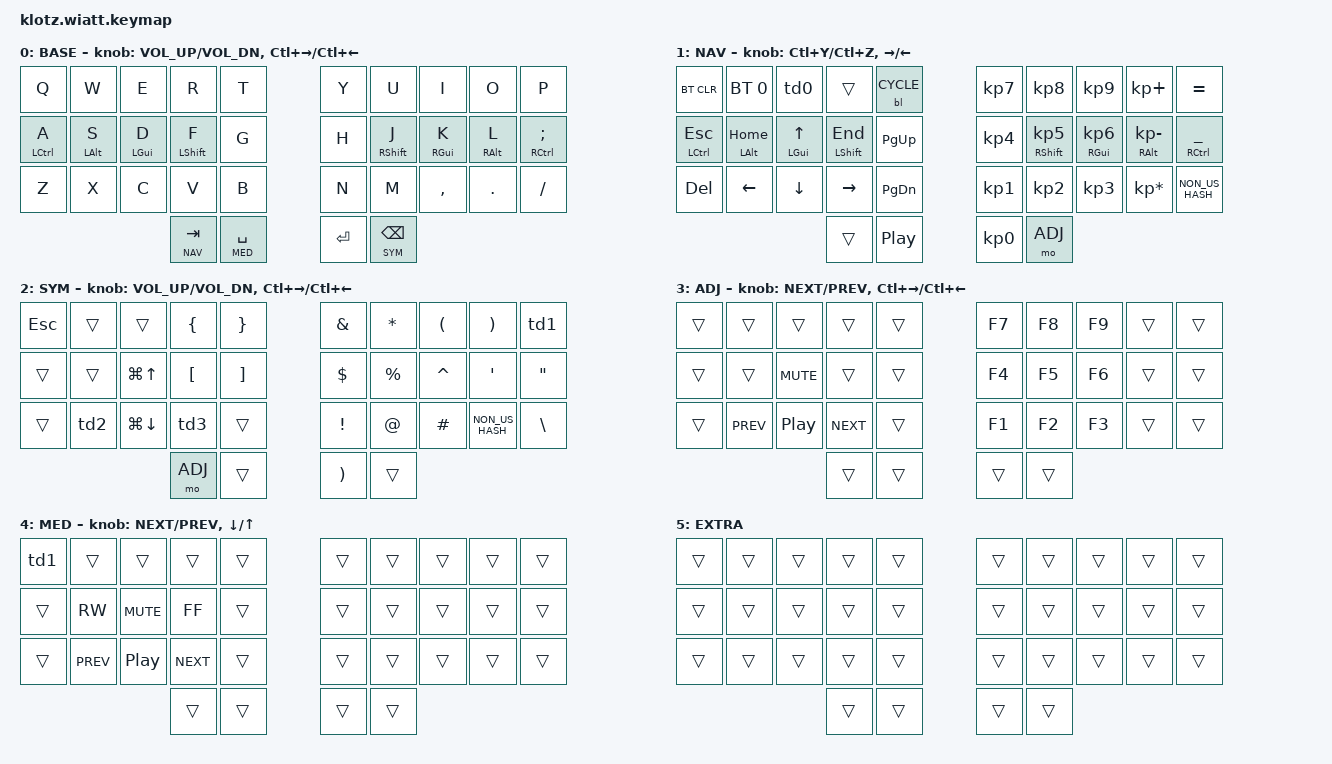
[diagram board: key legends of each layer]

//                                      █         ██        ▄▀▀▀▀▀▀▀▀▀▀█▀▀▀▀▀▀▀▀█▀▀▀▀▀▀▀▀▀▀█
//                                      █        █ █      ▄▀            ▀▄      █         █
//                                      █       █  █    ▄▀                ▀▄    █        █
//                                      █      █   █   █                    █   █       █
//                                      █     █    █   █                    █   █      █
//                                      █    █     █   █                    █   █  ▀▀▀█▀▀▀▀
//                                      █   █ █    █   █                    █   █    █
//                                      █  █   █   █   █                    █   █   █
//                                      █ █     █  █    ▀▄                ▄▀    █  █
//                                      ██       █ █      ▀▄            ▄▀      █ █
//                                      █         ██▄▄▄▄▄▄▄▄█▄▄▄▄▄▄▄▄▄▄▀        ██▄▄▄▄▄▄▄▄▄▄
//
// ▄▄▄▄▄▄▄▄▄▄▄▄▄▄▄▄▄▄▄▄▄▄▄▄▄▄▄▄▄▄▄▄▄▄▄▄▄▄▄▄▄▄▄▄▄▄▄▄▄▄▄▄▄▄▄▄▄▄▄▄▄▄▄▄▄▄▄▄▄▄▄▄▄▄▄▄▄▄▄▄▄▄▄▄▄▄▄▄▄▄▄▄▄▄▄▄▄▄▄▄▄▄▄▄▄▄▄▄▄▄▄▄▄▄▄▄▄▄▄▄▄▄▄▄▄
       

#include <behaviors.dtsi>
#include <dt-bindings/zmk/keys.h>
#include <dt-bindings/zmk/bt.h>
#include <dt-bindings/zmk/outputs.h>
#include <dt-bindings/zmk/backlight.h>

#define BASE 0
#define NAV  1
#define SYM  2
#define ADJ  3
#define MED  4
#define XTRA 5

&mt {
  quick-tap-ms = <100>;
  global-quick-tap;
  flavor = "tap-preferred";
  tapping-term-ms = <170>;
};

/ {
    behaviors {
        td0: tap_dance_0 {
            compatible = "zmk,behavior-tap-dance";
            label = "TAP_DANCE_0";
            #binding-cells = <0>;
            tapping-term-ms = <300>;
            bindings = <&bt BT_SEL 0>, <&bt BT_SEL 1>, <&bt BT_SEL 2>, <&bt BT_SEL 3>, <&bt BT_SEL 4>;
        };
        td1: tap_dance_1 {
            compatible = "zmk,behavior-tap-dance";
            label = "TAP_DANCE_1";
            #binding-cells = <0>;
            tapping-term-ms = <300>;
            bindings = <&sys_reset>, <&bootloader>;
        };
        td2: tap_dance_2 {
            compatible = "zmk,behavior-tap-dance";
            label = "TAP_DANCE_2";
            #binding-cells = <0>;
            tapping-term-ms = <300>;
            bindings = <&kp LG(LEFT)>, <&kp LS(LG(LEFT))>;
        };
        td3: tap_dance_3 {
            compatible = "zmk,behavior-tap-dance";
            label = "TAP_DANCE_3";
            #binding-cells = <0>;
            tapping-term-ms = <300>;
            bindings = <&kp LG(RIGHT)>, <&kp LS(LG(RIGHT))>;
        };
    };
    keymap {
                compatible = "zmk,keymap";
// ▄▄▄▄▄▄▄▄▄▄▄▄▄▄▄▄▄▄▄▄▄▄▄▄▄▄▄▄▄▄▄▄▄▄▄▄▄▄▄▄▄▄▄▄▄▄▄▄▄▄▄▄▄▄▄▄▄▄▄▄▄▄▄▄▄▄▄▄▄▄▄▄▄▄▄▄▄▄▄▄▄▄▄▄▄▄▄▄▄▄▄▄▄▄▄▄▄▄▄▄▄▄▄▄▄▄▄▄▄▄▄▄▄▄▄▄▄▄▄▄▄▄▄▄▄


                base_layer {
// ┏━━━━━━━━━━━━━━━━━━━━━━━━━━━━━━━━━━━━━━━┓
label= "BASE"                              ;
// ┗━━━━━━━━━━━━━━━━━━━━━━━━━━━━━━━━━━━━━━━┛
// ┏━━━━━━━┳━━━━━━┳━━━━━━━┳━━━━━━┳━━━━━━━━━━━┓   ┏━━━━━━━━━━━┳━━━━━━━━━━━┳━━━━━━━━━━━┳━━━━━━━━━━━┳━━━━━━━━━━━┓
// ┃     Q     ┃     W     ┃     E     ┃     R     ┃     T     ┃   ┃     Y     ┃     U     ┃     I     ┃     O     ┃     P     ┃
// ┣━━━━━━━╋━━━━━━╋━━━━━━━╋━━━━━━╋━━━━━━━━━━━┫   ┣━━━━━━━━━━━╋━━━━━━━━━━━╋━━━━━━━━━━━╋━━━━━━━━━━━╋━━━━━━━━━━━┫
// ┃     A     ┃     S     ┃     D     ┃     F     ┃     G     ┃   ┃     H     ┃     J     ┃     K     ┃     L     ┃     ;     ┃
// ┣━━━━━━━╋━━━━━━╋━━━━━━━╋━━━━━━╋━━━━━━━━━━━┫   ┣━━━━━━━━━━━╋━━━━━━━━━━━╋━━━━━━━━━━━╋━━━━━━━━━━━╋━━━━━━━━━━━┫
// ┃     Z     ┃     X     ┃     C     ┃     V     ┃     B     ┃   ┃     N     ┃     M     ┃     ,     ┃     .     ┃     /     ┃
// ┗━━━━━━━━━━━┻━━━━━━━━━━━┻━━━━━━━━━━━╋━━━━━━━━━━━╋━━━━━━━━━━━┫   ┣━━━━━━━━━━━╋━━━━━━━━━━━╋━━━━━━━━━━━┻━━━━━━━━━━━┻━━━━━━━━━━━┛
//                                     ┃    TAB    ┃    SPC    ┃   ┃   ENTER   ┃   BSPC    ┃
//                                     ┗━━━━━━━━━━━┻━━━━━━━━━━━┛   ┗━━━━━━━━━━━┻━━━━━━━━━━━┛
 bindings = <
// ╷           ╷           ╷           ╷           ╷           ╷   ╷           ╷           ╷           ╷           ╷           ╷

    &kp Q       &kp W       &kp E       &kp R       &kp T           &kp Y       &kp U       &kp I       &kp O       &kp P
    &mt LCTRL A &mt LALT S  &mt LGUI D  &mt LSHFT F &kp G           &kp H       &mt RSHFT J &mt RGUI K  &mt RALT L  &mt RCTRL SEMI
    &kp Z       &kp X       &kp C       &kp V       &kp B           &kp N       &kp M       &kp COMMA   &kp DOT     &kp FSLH
                                        &lt NAV TAB &lt MED SPACE   &kp RET     &lt SYM BSPC    
                        >;
            sensor-bindings = <&inc_dec_kp C_VOL_UP C_VOL_DN &inc_dec_kp LC(RIGHT) LC(LEFT)>;
                };

// ▄▄▄▄▄▄▄▄▄▄▄▄▄▄▄▄▄▄▄▄▄▄▄▄▄▄▄▄▄▄▄▄▄▄▄▄▄▄▄▄▄▄▄▄▄▄▄▄▄▄▄▄▄▄▄▄▄▄▄▄▄▄▄▄▄▄▄▄▄▄▄▄▄▄▄▄▄▄▄▄▄▄▄▄▄▄▄▄▄▄▄▄▄▄▄▄▄▄▄▄▄▄▄▄▄▄▄▄▄▄▄▄▄▄▄▄▄▄▄▄▄▄▄▄▄


                nav_layer {
// ┏━━━━━━━━━━━━━━━━━━━━━━━━━━━━━━━━━━━━━━━┓
label= "NAV"                              ;
// ┗━━━━━━━━━━━━━━━━━━━━━━━━━━━━━━━━━━━━━━━┛
// ┏━━━━━━━━━━━┳━━━━━━━━━━━┳━━━━━━━━━━━┳━━━━━━━━━━━┳━━━━━━━━━━━┓   ┏━━━━━━━━━━━┳━━━━━━━━━━━┳━━━━━━━━━━━┳━━━━━━━━━━━┳━━━━━━━━━━━┓
// ┃   BT CLR  ┃  BT 1     ┃   BT TAP  ┃           ┃ LED CYCLE ┃   ┃     7     ┃     8     ┃     9     ┃     +     ┃     =     ┃
// ┣━━━━━━━━━━━╋━━━━━━━━━━━╋━━━━━━━━━━━╋━━━━━━━━━━━╋━━━━━━━━━━━┫   ┣━━━━━━━━━━━╋━━━━━━━━━━━╋━━━━━━━━━━━╋━━━━━━━━━━━╋━━━━━━━━━━━┫
// ┃    ESC    ┃   HOME    ┃    UP     ┃    END    ┃   PG UP   ┃   ┃     4     ┃     5     ┃     6     ┃     -     ┃     _     ┃
// ┣━━━━━━━━━━━╋━━━━━━━━━━━╋━━━━━━━━━━━╋━━━━━━━━━━━╋━━━━━━━━━━━┫   ┣━━━━━━━━━━━╋━━━━━━━━━━━╋━━━━━━━━━━━╋━━━━━━━━━━━╋━━━━━━━━━━━┫
// ┃    DEL    ┃   LEFT    ┃   DOWN    ┃   RIGHT   ┃  PG DOWN  ┃   ┃     1     ┃     2     ┃     3     ┃     *     ┃     #     ┃
// ┗━━━━━━━━━━━┻━━━━━━━━━━━┻━━━━━━━━━━━╋━━━━━━━━━━━╋━━━━━━━━━━━┫   ┣━━━━━━━━━━━╋━━━━━━━━━━━╋━━━━━━━━━━━┻━━━━━━━━━━━┻━━━━━━━━━━━┛
//                                     ┃           ┃PLAY/PAUSE ┃   ┃    0      ┃     ADJ   ┃  
//                                     ┗━━━━━━━━━━━┻━━━━━━━━━━━┛   ┗━━━━━━━━━━━┻━━━━━━━━━━━┛
 bindings = <
// ╷            ╷            ╷           ╷            ╷           ╷    ╷           ╷           ╷           ╷               ╷              ╷

    &bt BT_CLR     &bt BT_SEL 0  &td0        &trans        &bl BL_CYCLE     &kp KP_N7   &kp KP_N8       &kp KP_N9      &kp KP_PLUS       &kp EQUAL
    &mt LCTRL ESC  &mt LALT HOME &mt LGUI UP &mt LSHFT END &kp PG_UP        &kp KP_N4   &mt RSHFT KP_N5 &mt RGUI KP_N6 &mt RALT KP_MINUS &mt RCTRL UNDER
    &kp DEL        &kp LEFT      &kp DOWN    &kp RIGHT     &kp PG_DN        &kp KP_N1   &kp KP_N2       &kp KP_N3      &kp KP_MULTIPLY   &kp NON_US_HASH
                                             &trans        &kp C_PP         &kp KP_N0   &mo ADJ     
                        >;
            sensor-bindings = <&inc_dec_kp LC(Y) LC(Z) &inc_dec_kp RIGHT LEFT>;
                };

// ▄▄▄▄▄▄▄▄▄▄▄▄▄▄▄▄▄▄▄▄▄▄▄▄▄▄▄▄▄▄▄▄▄▄▄▄▄▄▄▄▄▄▄▄▄▄▄▄▄▄▄▄▄▄▄▄▄▄▄▄▄▄▄▄▄▄▄▄▄▄▄▄▄▄▄▄▄▄▄▄▄▄▄▄▄▄▄▄▄▄▄▄▄▄▄▄▄▄▄▄▄▄▄▄▄▄▄▄▄▄▄▄▄▄▄▄▄▄▄▄▄▄▄▄▄


                sym_layer {
// ┏━━━━━━━━━━━━━━━━━━━━━━━━━━━━━━━━━━━━━━━┓
label= "SYM"                               ;
// ┗━━━━━━━━━━━━━━━━━━━━━━━━━━━━━━━━━━━━━━━┛
// ┏━━━━━━━━━━━┳━━━━━━━━━━━┳━━━━━━━━━━━┳━━━━━━━━━━━┳━━━━━━━━━━━┓   ┏━━━━━━━━━━━┳━━━━━━━━━━━┳━━━━━━━━━━━┳━━━━━━━━━━━┳━━━━━━━━━━━┓
// ┃    ESC    ┃           ┃           ┃     {     ┃     }     ┃   ┃     &     ┃     *     ┃     (     ┃     )     ┃ RESET TAP ┃
// ┣━━━━━━━━━━━╋━━━━━━━━━━━╋━━━━━━━━━━━╋━━━━━━━━━━━╋━━━━━━━━━━━┫   ┣━━━━━━━━━━━╋━━━━━━━━━━━╋━━━━━━━━━━━╋━━━━━━━━━━━╋━━━━━━━━━━━┫
// ┃           ┃           ┃ SCREEN UP ┃     [     ┃     ]     ┃   ┃     $     ┃     %     ┃      ^    ┃     '     ┃     "     ┃
// ┣━━━━━━━━━━━╋━━━━━━━━━━━╋━━━━━━━━━━━╋━━━━━━━━━━━╋━━━━━━━━━━━┫   ┣━━━━━━━━━━━╋━━━━━━━━━━━╋━━━━━━━━━━━╋━━━━━━━━━━━╋━━━━━━━━━━━┫
// ┃           ┃ LEFT TAP  ┃ SCREEN DN ┃ RIGHT TAP ┃           ┃   ┃     !     ┃     @     ┃      £    ┃     #     ┃     \     ┃
// ┗━━━━━━━━━━━┻━━━━━━━━━━━┻━━━━━━━━━━━╋━━━━━━━━━━━╋━━━━━━━━━━━┫   ┣━━━━━━━━━━━╋━━━━━━━━━━━╋━━━━━━━━━━━┻━━━━━━━━━━━┻━━━━━━━━━━━┛
//                                     ┃   ADJUST  ┃           ┃   ┃     )     ┃           ┃   
//                                     ┗━━━━━━━━━━━┻━━━━━━━━━━━┛   ┗━━━━━━━━━━━┻━━━━━━━━━━━┛
 bindings = <
// ╷           ╷           ╷           ╷           ╷           ╷   ╷           ╷           ╷           ╷           ╷           ╷

   &kp ESC     &trans      &trans       &kp LBRC    &kp RBRC        &kp AMPS    &kp STAR    &kp LPAR    &kp RPAR        &td1      
   &trans      &trans      &kp LG(UP)   &kp LBKT    &kp RBKT        &kp DLLR    &kp PRCNT   &kp CARET   &kp SQT         &kp DQT 
   &trans      &td2        &kp LG(DOWN) &td3        &trans          &kp EXCL    &kp AT      &kp HASH    &kp NON_US_HASH &kp BSLH      
                                        &mo ADJ     &trans          &kp RPAR    &trans
                        >;
                sensor-bindings = <&inc_dec_kp C_VOL_UP C_VOL_DN &inc_dec_kp LC(RIGHT) LC(LEFT)>;
                };

// ▄▄▄▄▄▄▄▄▄▄▄▄▄▄▄▄▄▄▄▄▄▄▄▄▄▄▄▄▄▄▄▄▄▄▄▄▄▄▄▄▄▄▄▄▄▄▄▄▄▄▄▄▄▄▄▄▄▄▄▄▄▄▄▄▄▄▄▄▄▄▄▄▄▄▄▄▄▄▄▄▄▄▄▄▄▄▄▄▄▄▄▄▄▄▄▄▄▄▄▄▄▄▄▄▄▄▄▄▄▄▄▄▄▄▄▄▄▄▄▄▄▄▄▄▄


                adjust_layer {
// ┏━━━━━━━━━━━━━━━━━━━━━━━━━━━━━━━━━━━━━━━┓
label= "ADJ"                               ;
// ┗━━━━━━━━━━━━━━━━━━━━━━━━━━━━━━━━━━━━━━━┛
// ┏━━━━━━━━━━━┳━━━━━━━━━━━┳━━━━━━━━━━━┳━━━━━━━━━━━┳━━━━━━━━━━━┓   ┏━━━━━━━━━━━┳━━━━━━━━━━━┳━━━━━━━━━━━┳━━━━━━━━━━━┳━━━━━━━━━━━┓
// ┃           ┃           ┃           ┃           ┃           ┃   ┃    F7     ┃    F8     ┃    F9     ┃           ┃           ┃
// ┣━━━━━━━━━━━╋━━━━━━━━━━━╋━━━━━━━━━━━╋━━━━━━━━━━━╋━━━━━━━━━━━┫   ┣━━━━━━━━━━━╋━━━━━━━━━━━╋━━━━━━━━━━━╋━━━━━━━━━━━╋━━━━━━━━━━━┫
// ┃           ┃           ┃   MUTE    ┃           ┃           ┃   ┃    F4     ┃    F5     ┃    F6     ┃           ┃           ┃
// ┣━━━━━━━━━━━╋━━━━━━━━━━━╋━━━━━━━━━━━╋━━━━━━━━━━━╋━━━━━━━━━━━┫   ┣━━━━━━━━━━━╋━━━━━━━━━━━╋━━━━━━━━━━━╋━━━━━━━━━━━╋━━━━━━━━━━━┫
// ┃           ┃  PREVIOUS ┃ PLAYPAUSE ┃   NEXT    ┃           ┃   ┃    F1     ┃    F2     ┃    F3     ┃           ┃           ┃
// ┗━━━━━━━━━━━┻━━━━━━━━━━━┻━━━━━━━━━━━╋━━━━━━━━━━━╋━━━━━━━━━━━┫   ┣━━━━━━━━━━━╋━━━━━━━━━━━╋━━━━━━━━━━━┻━━━━━━━━━━━┻━━━━━━━━━━━┛
//                                     ┃           ┃           ┃   ┃           ┃           ┃
//                                     ┗━━━━━━━━━━━┻━━━━━━━━━━━┛   ┗━━━━━━━━━━━┻━━━━━━━━━━━┛
 bindings = <
// ╷            ╷          ╷          ╷          ╷           ╷   ╷           ╷           ╷           ╷           ╷           ╷

    &trans      &trans     &trans     &trans      &trans          &kp F7      &kp F8      &kp F9      &trans      &trans
    &trans      &trans     &kp C_MUTE &trans      &trans          &kp F4      &kp F5      &kp F6      &trans      &trans
    &trans      &kp C_PREV &kp C_PP   &kp C_NEXT  &trans          &kp F1      &kp F2      &kp F3      &trans      &trans     
                                      &trans      &trans          &trans      &trans
                        >;
            sensor-bindings = <&inc_dec_kp C_NEXT C_PREV &inc_dec_kp LC(RIGHT) LC(LEFT)>;
                };

// ▄▄▄▄▄▄▄▄▄▄▄▄▄▄▄▄▄▄▄▄▄▄▄▄▄▄▄▄▄▄▄▄▄▄▄▄▄▄▄▄▄▄▄▄▄▄▄▄▄▄▄▄▄▄▄▄▄▄▄▄▄▄▄▄▄▄▄▄▄▄▄▄▄▄▄▄▄▄▄▄▄▄▄▄▄▄▄▄▄▄▄▄▄▄▄▄▄▄▄▄▄▄▄▄▄▄▄▄▄▄▄▄▄▄▄▄▄▄▄▄▄▄▄▄▄



                media_layer {
// ┏━━━━━━━━━━━━━━━━━━━━━━━━━━━━━━━━━━━━━━━┓
label= "MED"                               ;
// ┗━━━━━━━━━━━━━━━━━━━━━━━━━━━━━━━━━━━━━━━┛
// ┏━━━━━━━━━━━┳━━━━━━━━━━━┳━━━━━━━━━━━┳━━━━━━━━━━━┳━━━━━━━━━━━┓   ┏━━━━━━━━━━━┳━━━━━━━━━━━┳━━━━━━━━━━━┳━━━━━━━━━━━┳━━━━━━━━━━━┓
// ┃ RESET TAP ┃           ┃           ┃           ┃           ┃   ┃           ┃           ┃           ┃           ┃           ┃
// ┣━━━━━━━━━━━╋━━━━━━━━━━━╋━━━━━━━━━━━╋━━━━━━━━━━━╋━━━━━━━━━━━┫   ┣━━━━━━━━━━━╋━━━━━━━━━━━╋━━━━━━━━━━━╋━━━━━━━━━━━╋━━━━━━━━━━━┫
// ┃           ┃  REWIND   ┃   MUTE    ┃ F FORWARD ┃           ┃   ┃           ┃           ┃           ┃           ┃           ┃
// ┣━━━━━━━━━━━╋━━━━━━━━━━━╋━━━━━━━━━━━╋━━━━━━━━━━━╋━━━━━━━━━━━┫   ┣━━━━━━━━━━━╋━━━━━━━━━━━╋━━━━━━━━━━━╋━━━━━━━━━━━╋━━━━━━━━━━━┫
// ┃           ┃  PREVIOUS ┃ PLAYPAUSE ┃   NEXT    ┃           ┃   ┃           ┃           ┃           ┃           ┃           ┃
// ┗━━━━━━━━━━━┻━━━━━━━━━━━┻━━━━━━━━━━━╋━━━━━━━━━━━╋━━━━━━━━━━━┫   ┣━━━━━━━━━━━╋━━━━━━━━━━━╋━━━━━━━━━━━┻━━━━━━━━━━━┻━━━━━━━━━━━┛
//                                     ┃           ┃           ┃   ┃           ┃           ┃
//                                     ┗━━━━━━━━━━━┻━━━━━━━━━━━┛   ┗━━━━━━━━━━━┻━━━━━━━━━━━┛
 bindings = <
// ╷           ╷          ╷          ╷          ╷           ╷   ╷          ╷           ╷           ╷           ╷           ╷

    &td1       &trans     &trans     &trans     &trans          &trans     &trans      &trans      &trans       &trans
    &trans     &kp C_RW   &kp C_MUTE &kp C_FF   &trans          &trans     &trans      &trans      &trans       &trans
    &trans     &kp C_PREV &kp C_PP   &kp C_NEXT &trans          &trans     &trans      &trans      &trans       &trans     
                                     &trans     &trans          &trans     &trans
                        >;
            sensor-bindings = <&inc_dec_kp C_NEXT C_PREV &inc_dec_kp DOWN UP>;
                };

// ▄▄▄▄▄▄▄▄▄▄▄▄▄▄▄▄▄▄▄▄▄▄▄▄▄▄▄▄▄▄▄▄▄▄▄▄▄▄▄▄▄▄▄▄▄▄▄▄▄▄▄▄▄▄▄▄▄▄▄▄▄▄▄▄▄▄▄▄▄▄▄▄▄▄▄▄▄▄▄▄▄▄▄▄▄▄▄▄▄▄▄▄▄▄▄▄▄▄▄▄▄▄▄▄▄▄▄▄▄▄▄▄▄▄▄▄▄▄▄▄▄▄▄▄▄


                extra_layer {
// ┏━━━━━━━━━━━━━━━━━━━━━━━━━━━━━━━━━━━━━━━┓
label= "EXTRA"                             ;
// ┗━━━━━━━━━━━━━━━━━━━━━━━━━━━━━━━━━━━━━━━┛
// ┏━━━━━━━━━━━┳━━━━━━━━━━━┳━━━━━━━━━━━┳━━━━━━━━━━━┳━━━━━━━━━━━┓   ┏━━━━━━━━━━━┳━━━━━━━━━━━┳━━━━━━━━━━━┳━━━━━━━━━━━┳━━━━━━━━━━━┓
// ┃           ┃           ┃           ┃           ┃           ┃   ┃           ┃           ┃           ┃           ┃           ┃
// ┣━━━━━━━━━━━╋━━━━━━━━━━━╋━━━━━━━━━━━╋━━━━━━━━━━━╋━━━━━━━━━━━┫   ┣━━━━━━━━━━━╋━━━━━━━━━━━╋━━━━━━━━━━━╋━━━━━━━━━━━╋━━━━━━━━━━━┫
// ┃           ┃           ┃           ┃           ┃           ┃   ┃           ┃           ┃           ┃           ┃           ┃
// ┣━━━━━━━━━━━╋━━━━━━━━━━━╋━━━━━━━━━━━╋━━━━━━━━━━━╋━━━━━━━━━━━┫   ┣━━━━━━━━━━━╋━━━━━━━━━━━╋━━━━━━━━━━━╋━━━━━━━━━━━╋━━━━━━━━━━━┫
// ┃           ┃           ┃           ┃           ┃           ┃   ┃           ┃           ┃           ┃           ┃           ┃
// ┗━━━━━━━━━━━┻━━━━━━━━━━━┻━━━━━━━━━━━╋━━━━━━━━━━━╋━━━━━━━━━━━┫   ┣━━━━━━━━━━━╋━━━━━━━━━━━╋━━━━━━━━━━━┻━━━━━━━━━━━┻━━━━━━━━━━━┛
//                                     ┃           ┃           ┃   ┃           ┃           ┃
//                                     ┗━━━━━━━━━━━┻━━━━━━━━━━━┛   ┗━━━━━━━━━━━┻━━━━━━━━━━━┛
 bindings = <
//  ╷           ╷           ╷           ╷           ╷           ╷   ╷          ╷           ╷           ╷           ╷           ╷

    &trans      &trans      &trans      &trans      &trans          &trans     &trans      &trans      &trans      &trans
    &trans      &trans      &trans      &trans      &trans          &trans     &trans      &trans      &trans      &trans
    &trans      &trans      &trans      &trans      &trans          &trans     &trans      &trans      &trans      &trans
                                        &trans      &trans          &trans     &trans
                          >;
                };
        };
};
